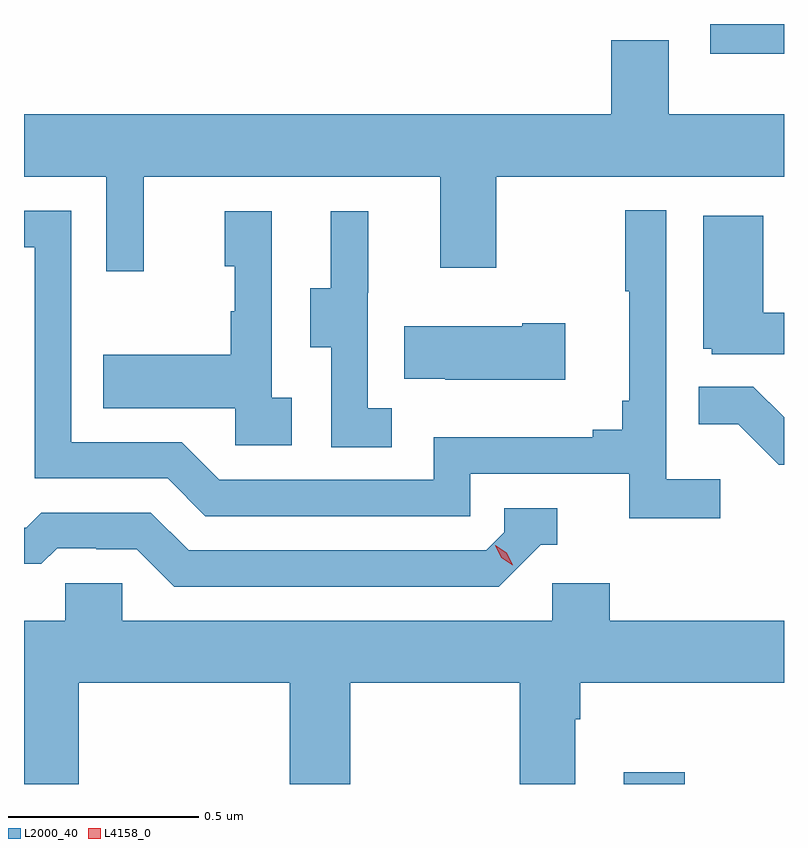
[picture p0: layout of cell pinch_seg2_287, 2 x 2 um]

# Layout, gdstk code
import gdstk
lib = gdstk.Library(unit=1e-6, precision=1e-09)
def R(c, l, rs):  # rectangles x0, y0, x1, y1
    for r in rs: c.add(gdstk.rectangle(r[:2], r[2:], *l))
def P(c, l, *ps):  # polygons
    for p in ps: c.add(gdstk.Polygon(p, *l))
L2000_40 = (2000, 40)
L4158_0 = (4158, 0)

pinch_seg2_287 = lib.new_cell('pinch_seg2_287')
R(pinch_seg2_287, L2000_40, [(926.816,631.386,926.977,631.417), (927.044,633.308,927.238,633.386)])
P(pinch_seg2_287, L2000_40, [(925.553,632.984),(926.333,632.984),(926.333,632.745),(926.481,632.745),(926.481,632.984),(927.238,632.984),(927.238,633.148),(926.935,633.148),(926.935,633.343),(926.783,633.343),(926.783,633.148),(925.238,633.148),(925.238,632.984),(925.455,632.984),(925.455,632.736),(925.553,632.736)],
  [(927.07,632.188),(926.928,632.188),(926.928,632.896),(926.82,632.896),(926.82,632.683),(926.831,632.683),(926.831,632.395),(926.812,632.395),(926.812,632.318),(926.735,632.318),(926.735,632.299),(926.316,632.299),(926.316,632.187),(925.752,632.187),(925.653,632.286),(925.362,632.286),(925.362,632.895),(925.238,632.895),(925.238,632.799),(925.266,632.799),(925.266,632.19),(925.616,632.19),(925.715,632.091),(926.412,632.091),(926.412,632.202),(926.831,632.202),(926.831,632.086),(927.07,632.086)],
  [(925.942,632.402),(925.89,632.402),(925.89,632.893),(925.766,632.893),(925.766,632.748),(925.792,632.748),(925.792,632.63),(925.782,632.63),(925.782,632.515),(925.447,632.515),(925.447,632.375),(925.794,632.375),(925.794,632.277),(925.942,632.277)],
  [(926.206,632.375),(926.142,632.375),(926.142,632.679),(926.144,632.679),(926.144,632.893),(926.045,632.893),(926.045,632.691),(925.991,632.691),(925.991,632.536),(926.046,632.536),(926.046,632.272),(926.206,632.272)],
  [(927.238,632.626),(927.184,632.626),(927.184,632.881),(927.026,632.881),(927.026,632.532),(927.048,632.532),(927.048,632.517),(927.238,632.517)],
  [(926.662,632.598),(926.549,632.598),(926.549,632.59),(926.239,632.59),(926.239,632.453),(926.347,632.453),(926.347,632.45),(926.662,632.45)],
  [(927.238,632.351),(927.157,632.432),(927.013,632.432),(927.013,632.333),(927.117,632.333),(927.224,632.226),(927.238,632.226)],
  [(926.598,632.016),(926.641,632.016),(926.641,632.112),(926.502,632.112),(926.502,632.049),(926.454,632.001),(925.671,632.001),(925.572,632.1),(925.283,632.1),(925.244,632.061),(925.238,632.061),(925.238,631.965),(925.283,631.965),(925.325,632.007),(925.428,632.007),(925.428,632.004),(925.535,632.004),(925.634,631.905),(926.487,631.905)],
  [(925.382,631.652),(925.937,631.652),(925.937,631.386),(926.097,631.386),(926.097,631.652),(926.542,631.652),(926.542,631.386),(926.689,631.386),(926.689,631.556),(926.702,631.556),(926.702,631.652),(927.238,631.652),(927.238,631.816),(926.78,631.816),(926.78,631.914),(926.628,631.914),(926.628,631.816),(925.497,631.816),(925.497,631.914),(925.347,631.914),(925.347,631.816),(925.238,631.816),(925.238,631.386),(925.382,631.386)])
P(pinch_seg2_287, L4158_0, [(926.524,631.962),(926.494,631.982),(926.478,632.014),(926.478,632.014),(926.478,632.014),(926.508,631.995),(926.524,631.962),(926.524,631.962)])

lib.write_gds('pinch_seg2_287.gds')
